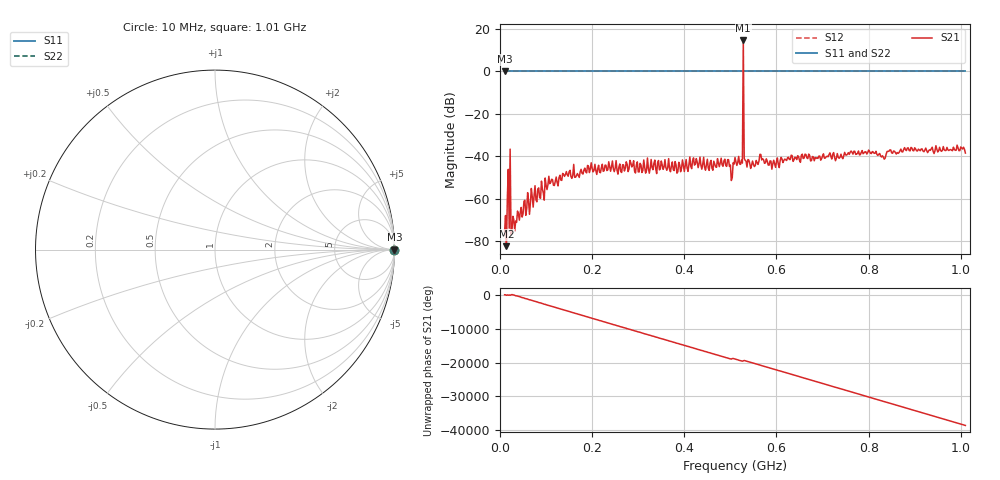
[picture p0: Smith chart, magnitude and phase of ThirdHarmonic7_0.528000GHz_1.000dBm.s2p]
! 8/17/2025 3:38:57 PM
! C:\ANRITSUVNA\TEMP\TEMP.S2P
! CHANNEL.1
! TR.MEASUREMENT
! RAW.DATA
! RF.CORRECTION.OFF
! AVERAGING.OFF
! IF.BANDWIDTH: 5KHZ
! SWEEPTYPE:  FREQ.SWEEP(Linear)
! Reference Plane Port Info
! PORT:  PORT1  PORT2
! DISTANCE:  0  m  0  m
! TIME:  0  s  0  s
! PHASE.OFFSET:  0  deg.  0  deg.
! LOSS:  0  dB  0  dB
! REF.LOSS:  0  dB  0  dB
! REF.FREQ:  0  Hz  0  Hz
! Power Info
! POWER:  -20  dBm  -20  dBm
! EFF.POWER:  -20  dBm  -20  dBm
! SOURCE.ATTEN:  0  dB  0  dB
! TEST.ATTEN:  0  dB  0  dB
# GHZ S RI R 50.0
! FREQ.GHZ  S11RE  S11IM  S21RE  S21IM  S12RE  S12IM  S22RE  S22IM
!; PortSelection: Port_12
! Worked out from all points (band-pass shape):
!   501 points, 10 MHz to 1.01 GHz, reference 50 ohm
!   highest |S21| = 14.62 dB at 528 MHz (marker M1); lowest = -82.4 dB at 14 MHz (marker M2)
!   |S21| within 3 dB of the highest: 527.8963 MHz to 528.1078 MHz (211.5 kHz wide, 0.0401 % of centre)
!   lowest |S11| = 0.0 dB at 10 MHz (marker M3)
!   |S11| at or under -10 dB: nowhere
!   |S22| runs from 0.0 to 0.0 dB; largest |S21 - S12| = 4.4
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0.01  1 0  -0.000168 2.49e-05  1 0  1 0
0.014  1 0  7.54e-05 4e-06  1 0  1 0
0.02  1 0  -3.83e-05 0.000197  1 0  1 0
0.024  1 0  -5.33e-05 0.000131  1 0  1 0
0.026  1 0  -0.000113 -0.00014  1 0  1 0
0.028  1 0  -0.000181 0.000336  1 0  1 0
0.056  1 0  -4.9e-05 0.0004  1 0  1 0
0.102  1 0  0.00159 0.000373  1 0  1 0
0.178  1 0  -0.00394 -0.000517  1 0  1 0
0.344  1 0  0.00752 -0.00244  1 0  1 0
0.484  1 0  -0.00527 0.00239  1 0  1 0
0.502  1 0  -0.00264 0.000396  1 0  1 0
0.51  1 0  -0.00898 -0.00254  1 0  1 0
0.522  1 0  0.00191 0.00612  1 0  1 0
0.524  1 0  0.0081 9.91e-05  1 0  1 0
0.528  1 0  5.287 0.9937  1 0  1 0
0.532  1 0  0.00657 0.00464  1 0  1 0
0.534  1 0  0.003 -0.00703  1 0  1 0
0.678  1 0  0.00646 -0.00742  1 0  1 0
0.832  1 0  -0.00516 -0.00791  1 0  1 0
0.844  1 0  -0.00791 0.0104  1 0  1 0
1.01  1 0  0.0041 -0.0111  1 0  1 0
